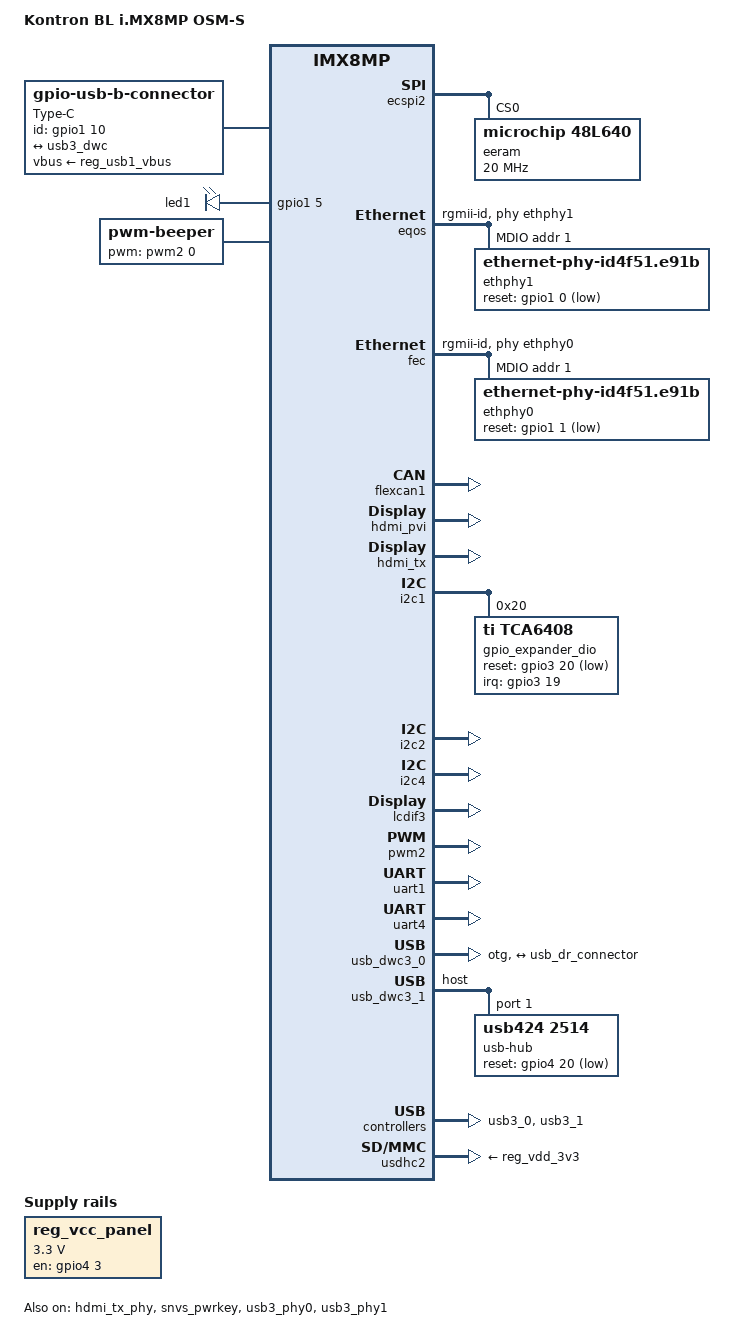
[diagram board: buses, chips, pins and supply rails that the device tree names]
// SPDX-License-Identifier: GPL-2.0+ OR MIT
/*
 * Copyright (C) 2022 Kontron Electronics GmbH
 */

/dts-v1/;

#include "imx8mp-kontron-osm-s.dtsi"

/ {
	model = "Kontron BL i.MX8MP OSM-S";
	compatible = "kontron,imx8mp-bl-osm-s", "kontron,imx8mp-osm-s", "fsl,imx8mp";

	aliases {
		ethernet0 = &fec;
		ethernet1 = &eqos;
	};

	connector {
		compatible = "gpio-usb-b-connector", "usb-b-connector";
		id-gpios = <&gpio1 10 GPIO_ACTIVE_HIGH>;
		label = "Type-C";
		pinctrl-names = "default";
		pinctrl-0 = <&pinctrl_usb1_id>;
		type = "micro";
		vbus-supply = <&reg_usb1_vbus>;

		port {
			usb_dr_connector: endpoint {
				remote-endpoint = <&usb3_dwc>;
			};
		};
	};

	leds {
		compatible = "gpio-leds";

		led1 {
			label = "led1";
			gpios = <&gpio1 5 GPIO_ACTIVE_HIGH>;
			linux,default-trigger = "heartbeat";
		};
	};

	pwm-beeper {
		compatible = "pwm-beeper";
		pwms = <&pwm2 0 5000 0>;
	};

	reg_vcc_panel: regulator-vcc-panel {
		compatible = "regulator-fixed";
		gpio = <&gpio4 3 GPIO_ACTIVE_HIGH>;
		enable-active-high;
		regulator-max-microvolt = <3300000>;
		regulator-min-microvolt = <3300000>;
		regulator-name = "VCC_PANEL";
	};
};

&ecspi2 {
	status = "okay";

	eeram@0 {
		compatible = "microchip,48l640";
		reg = <0>;
		spi-max-frequency = <20000000>;
	};
};

&eqos {	/* Second ethernet (OSM-S ETH_B) */
	pinctrl-names = "default";
	pinctrl-0 = <&pinctrl_eqos_rgmii>;
	phy-mode = "rgmii-id";
	phy-handle = <&ethphy1>;
	status = "okay";

	mdio {
		compatible = "snps,dwmac-mdio";
		#address-cells = <1>;
		#size-cells = <0>;

		ethphy1: ethernet-phy@1 {
			compatible = "ethernet-phy-id4f51.e91b";
			reg = <1>;
			pinctrl-0 = <&pinctrl_ethphy1>;
			pinctrl-names = "default";
			reset-assert-us = <10000>;
			reset-gpios = <&gpio1 0 GPIO_ACTIVE_LOW>;
		};
	};
};

&fec { /* First ethernet (OSM-S ETH_A) */
	pinctrl-names = "default";
	pinctrl-0 = <&pinctrl_enet_rgmii>;
	phy-connection-type = "rgmii-id";
	phy-handle = <&ethphy0>;
	status = "okay";

	mdio {
		#address-cells = <1>;
		#size-cells = <0>;

		ethphy0: ethernet-phy@1 {
			compatible = "ethernet-phy-id4f51.e91b";
			reg = <1>;
			pinctrl-0 = <&pinctrl_ethphy0>;
			pinctrl-names = "default";
			reset-assert-us = <10000>;
			reset-gpios = <&gpio1 1 GPIO_ACTIVE_LOW>;
		};
	};
};

&flexcan1 {
	status = "okay";
};

/*
 * Rename SoM signals according to board usage:
 *   SDIO_A_PWR_EN -> CAN_ADDR2
 *   SDIO_A_WP     -> CAN_ADDR3
 */
&gpio2 {
	pinctrl-names = "default";
	pinctrl-0 = <&pinctrl_gpio2>;
	gpio-line-names = "", "", "", "", "", "", "", "", "", "", "", "",
			  "SDIO_A_CD", "SDIO_A_CLK", "SDIO_A_CMD", "SDIO_A_D0",
			  "SDIO_A_D1", "SDIO_A_D2", "SDIO_A_D3", "CAN_ADDR2",
			  "CAN_ADDR3";
};

/*
 * Rename SoM signals according to board usage:
 *   GPIO_B_0      -> IO_EXP_INT
 *   GPIO_B_1      -> IO_EXP_RST
 */
&gpio3 {
	gpio-line-names = "PCIE_WAKE", "PCIE_CLKREQ", "PCIE_A_PERST", "SDIO_B_D5",
			  "SDIO_B_D6", "SDIO_B_D7", "SPI_A_WP", "SPI_A_HOLD",
			  "UART_B_RTS", "UART_B_CTS", "SDIO_B_D0", "SDIO_B_D1",
			  "SDIO_B_D2", "SDIO_B_D3", "SDIO_B_WP", "SDIO_B_D4",
			  "PCIE_SM_ALERT", "SDIO_B_CLK", "SDIO_B_CMD", "IO_EXP_INT",
			  "IO_EXP_RST", "", "BOOT_SEL0", "BOOT_SEL1",
			  "", "", "SDIO_B_CD", "SDIO_B_PWR_EN",
			  "HDMI_CEC", "HDMI_HPD";
};

/*
 * Rename SoM signals according to board usage and remove labels for unsed pins:
 *   GPIO_A_6      -> TFT_RESET
 *   GPIO_A_7      -> TFT_STBY
 *   GPIO_B_3      -> CSI_ENABLE
 *   GPIO_B_2      -> USB_HUB_RST
 */
&gpio4 {
	gpio-line-names = "", "", "", "",
			  "ETH_A_MDC", "ETH_A_MDIO", "ETH_A_RXD0", "ETH_A_RXD1",
			  "ETH_A_RXD2", "ETH_A_RXD3", "ETH_A_RX_DV", "ETH_A_RX_CLK",
			  "ETH_A_TXD0", "ETH_A_TXD1", "ETH_A_TXD2", "ETH_A_TXD3",
			  "ETH_A_TX_EN", "ETH_A_TX_CLK", "CSI_ENABLE", "",
			  "USB_HUB_RST", "TFT_RESET", "CAN_A_TX", "UART_A_CTS",
			  "UART_A_RTS", "CAN_A_RX", "CAN_B_TX", "CAN_B_RX",
			  "TFT_STBY", "CARRIER_PWR_EN", "I2S_A_DATA_IN", "I2S_LRCLK";
};

/*
 * Rename SoM signals according to board usage:
 *   SPI_A_SDI	-> CAN_ADDR0
 *   SPI_A_SDO	-> CAN_ADDR1
 */
&gpio5 {
	pinctrl-names = "default";
	pinctrl-0 = <&pinctrl_gpio5>;
	gpio-line-names = "I2S_BITCLK", "I2S_A_DATA_OUT", "I2S_MCLK", "PWM_2",
			  "PWM_1", "PWM_0", "SPI_A_SCK", "CAN_ADDR1",
			  "CAN_ADDR0", "SPI_A_CS0", "SPI_B_SCK", "SPI_B_SDO",
			  "SPI_B_SDI", "SPI_B_CS0", "I2C_A_SCL", "I2C_A_SDA",
			  "I2C_B_SCL", "I2C_B_SDA", "PCIE_SMCLK", "PCIE_SMDAT",
			  "I2C_CAM_SCL", "I2C_CAM_SDA", "UART_A_RX", "UART_A_TX",
			  "UART_C_RX", "UART_C_TX", "UART_CON_RX", "UART_CON_TX",
			  "UART_B_RX", "UART_B_TX";
};

&hdmi_pvi {
	status = "okay";
};

&hdmi_tx {
	pinctrl-names = "default";
	pinctrl-0 = <&pinctrl_hdmi>;
	ddc-i2c-bus = <&i2c2>;
	status = "okay";
};

&hdmi_tx_phy {
	status = "okay";
};

&i2c1 {
	status = "okay";

	gpio_expander_dio: io-expander@20 {
		compatible = "ti,tca6408";
		reg = <0x20>;
		gpio-controller;
		#gpio-cells = <2>;
		gpio-line-names = "DIO1_OUT","DIO1_IN", "DIO2_OUT","DIO2_IN",
				  "DIO3_OUT","DIO3_IN", "DIO4_OUT","DIO4_IN";
		interrupt-parent = <&gpio3>;
		interrupts = <19 IRQ_TYPE_EDGE_FALLING>;
		reset-gpios = <&gpio3 20 GPIO_ACTIVE_LOW>;
	};
};

&i2c2 {
	status = "okay";
};

&i2c4 {
	status = "okay";
};

&lcdif3 {
	status = "okay";
};

&pwm2 {
	status = "okay";
};

&reg_usdhc2_vcc {
	status = "disabled";
};

&snvs_pwrkey {
	status = "okay";
};

&uart1 {
	uart-has-rtscts;
	status = "okay";
};

&uart4 {
	linux,rs485-enabled-at-boot-time;
	uart-has-rtscts;
	status = "okay";
};

&usb_dwc3_0 {
	adp-disable;
	hnp-disable;
	srp-disable;
	dr_mode = "otg";
	usb-role-switch;
	role-switch-default-mode = "peripheral";
	status = "okay";

	port {
		usb3_dwc: endpoint {
			remote-endpoint = <&usb_dr_connector>;
		};
	};
};

&usb_dwc3_1 {
	#address-cells = <1>;
	#size-cells = <0>;
	dr_mode = "host";
	status = "okay";

	usb-hub@1 {
		compatible = "usb424,2514";
		reg = <1>;
		reset-gpios = <&gpio4 20 GPIO_ACTIVE_LOW>;
	};
};

&usb3_0 {
	status = "okay";
};

&usb3_1 {
	fsl,disable-port-power-control;
	fsl,permanently-attached;
	status = "okay";
};

&usb3_phy0 {
	status = "okay";
};

&usb3_phy1 {
	status = "okay";
};

&usdhc2 {
	pinctrl-0 = <&pinctrl_usdhc2>, <&pinctrl_usdhc2_gpio>;
	pinctrl-1 = <&pinctrl_usdhc2_100mhz>, <&pinctrl_usdhc2_gpio>;
	pinctrl-2 = <&pinctrl_usdhc2_200mhz>, <&pinctrl_usdhc2_gpio>;
	vmmc-supply = <&reg_vdd_3v3>;
	status = "okay";
};

&iomuxc {
	pinctrl_ethphy0: ethphy0grp {
		fsl,pins = <
			MX8MP_IOMUXC_GPIO1_IO01__GPIO1_IO01		0x46
		>;
	};

	pinctrl_ethphy1: ethphy1grp {
		fsl,pins = <
			MX8MP_IOMUXC_GPIO1_IO00__GPIO1_IO00		0x46
		>;
	};

	pinctrl_gpio2: gpio2grp {
		fsl,pins = <
			MX8MP_IOMUXC_SD2_RESET_B__GPIO2_IO19		0x46
			MX8MP_IOMUXC_SD2_WP__GPIO2_IO20			0x46
		>;
	};

	pinctrl_gpio5: gpio5grp {
		fsl,pins = <
			MX8MP_IOMUXC_ECSPI1_MOSI__GPIO5_IO07		0x46 /* CAN_ADR0 */
			MX8MP_IOMUXC_ECSPI1_MISO__GPIO5_IO08		0x46 /* CAN_ADR1 */
		>;
	};
};
